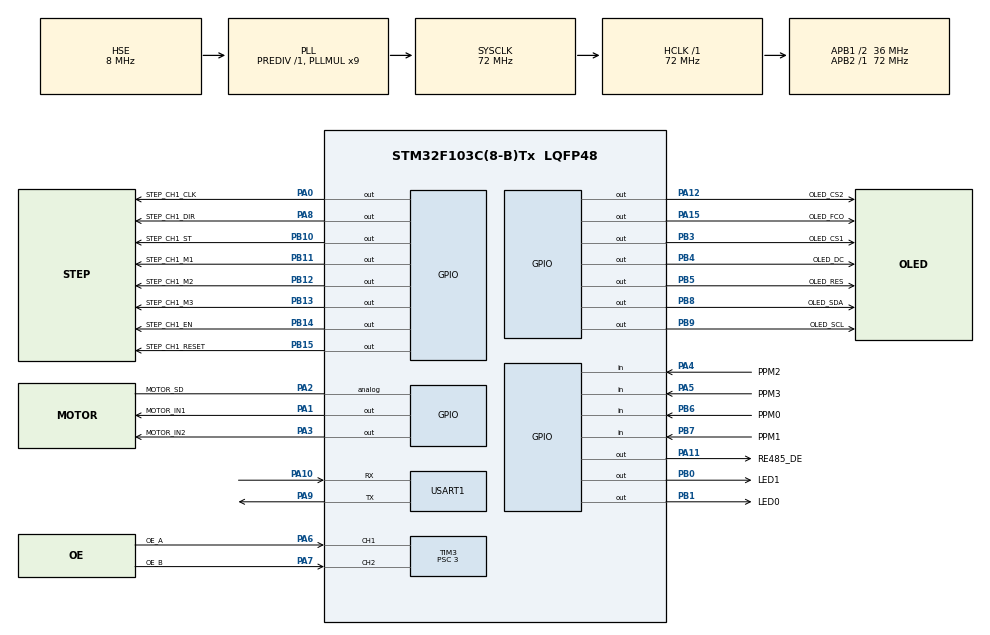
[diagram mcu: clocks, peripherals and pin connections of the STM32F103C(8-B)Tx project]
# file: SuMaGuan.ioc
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Dma.Request0=TIM3_CH4/UP
Dma.Request1=USART1_RX
Dma.Request2=USART1_TX
Dma.TIM3_CH4/UP.0.Direction=DMA_PERIPH_TO_MEMORY
Dma.TIM3_CH4/UP.0.Instance=DMA1_Channel3
Dma.TIM3_CH4/UP.0.MemDataAlignment=DMA_MDATAALIGN_HALFWORD
Dma.TIM3_CH4/UP.0.MemInc=DMA_MINC_ENABLE
Dma.TIM3_CH4/UP.0.Mode=DMA_NORMAL
Dma.TIM3_CH4/UP.0.PeriphDataAlignment=DMA_PDATAALIGN_HALFWORD
Dma.TIM3_CH4/UP.0.PeriphInc=DMA_PINC_DISABLE
Dma.TIM3_CH4/UP.0.Priority=DMA_PRIORITY_LOW
Dma.USART1_RX.1.Direction=DMA_PERIPH_TO_MEMORY
Dma.USART1_RX.1.Instance=DMA1_Channel5
Dma.USART1_RX.1.MemDataAlignment=DMA_MDATAALIGN_BYTE
Dma.USART1_RX.1.MemInc=DMA_MINC_ENABLE
Dma.USART1_RX.1.Mode=DMA_CIRCULAR
Dma.USART1_RX.1.PeriphDataAlignment=DMA_PDATAALIGN_BYTE
Dma.USART1_RX.1.PeriphInc=DMA_PINC_DISABLE
Dma.USART1_RX.1.Priority=DMA_PRIORITY_LOW
Dma.USART1_TX.2.Direction=DMA_MEMORY_TO_PERIPH
Dma.USART1_TX.2.Instance=DMA1_Channel4
Dma.USART1_TX.2.MemDataAlignment=DMA_MDATAALIGN_BYTE
Dma.USART1_TX.2.MemInc=DMA_MINC_ENABLE
Dma.USART1_TX.2.Mode=DMA_NORMAL
Dma.USART1_TX.2.PeriphDataAlignment=DMA_PDATAALIGN_BYTE
Dma.USART1_TX.2.PeriphInc=DMA_PINC_DISABLE
Dma.USART1_TX.2.Priority=DMA_PRIORITY_LOW
Mcu.Family=STM32F1
Mcu.Name=STM32F103C(8-B)Tx
Mcu.Package=LQFP48
NVIC.DMA1_Channel3_IRQn=true\:0\:0\:false\:false\:true\:false\:true
NVIC.DMA1_Channel4_IRQn=true\:0\:0\:false\:false\:true\:false\:true
NVIC.DMA1_Channel5_IRQn=true\:0\:0\:false\:false\:true\:false\:true
NVIC.PriorityGroup=NVIC_PRIORITYGROUP_4
NVIC.TIM1_UP_IRQn=true\:0\:0\:false\:false\:true\:true\:true
NVIC.TIM2_IRQn=true\:0\:0\:false\:false\:true\:true\:true
NVIC.TIM3_IRQn=true\:0\:0\:false\:false\:true\:true\:true
NVIC.TIM4_IRQn=true\:0\:0\:false\:false\:true\:true\:true
NVIC.USART1_IRQn=true\:0\:0\:false\:false\:true\:true\:true
PA0-WKUP.GPIO_Label=STEP_CH1_CLK
PA0-WKUP.Signal=GPIO_Output
PA1.GPIO_Label=MOTOR_IN1
PA1.Signal=GPIO_Output
PA10.Mode=Asynchronous
PA10.Signal=USART1_RX
PA11.GPIO_Label=RE485_DE
PA11.Signal=GPIO_Output
PA12.GPIO_Label=OLED_CS2
PA12.Signal=GPIO_Output
PA13.Mode=Serial_Wire
PA13.Signal=SYS_JTMS-SWDIO
PA14.Mode=Serial_Wire
PA14.Signal=SYS_JTCK-SWCLK
PA15.GPIO_Label=OLED_FCO
PA15.Signal=GPIO_Output
PA2.GPIO_Label=MOTOR_SD
PA2.Signal=GPIO_Analog
PA3.GPIO_Label=MOTOR_IN2
PA3.Signal=GPIO_Output
PA4.GPIO_Label=PPM2
PA4.GPIO_PuPd=GPIO_PULLDOWN
PA4.Signal=GPIO_Input
PA5.GPIO_Label=PPM3
PA5.GPIO_PuPd=GPIO_PULLDOWN
PA5.Signal=GPIO_Input
PA6.GPIO_Label=OE_A
PA6.GPIO_PuPd=GPIO_PULLUP
PA6.Signal=S_TIM3_CH1
PA7.GPIO_Label=OE_B
PA7.GPIO_PuPd=GPIO_PULLUP
PA7.Signal=S_TIM3_CH2
PA8.GPIO_Label=STEP_CH1_DIR
PA8.Signal=GPIO_Output
PA9.Mode=Asynchronous
PA9.Signal=USART1_TX
PB0.GPIO_Label=LED1
PB0.Signal=GPIO_Output
PB1.GPIO_Label=LED0
PB1.Signal=GPIO_Output
PB10.GPIO_Label=STEP_CH1_ST
PB10.Signal=GPIO_Output
PB11.GPIO_Label=STEP_CH1_M1
PB11.Signal=GPIO_Output
PB12.GPIO_Label=STEP_CH1_M2
PB12.Signal=GPIO_Output
PB13.GPIO_Label=STEP_CH1_M3
PB13.Signal=GPIO_Output
PB14.GPIO_Label=STEP_CH1_EN
PB14.Signal=GPIO_Output
PB15.GPIO_Label=STEP_CH1_RESET
PB15.Signal=GPIO_Output
PB3.GPIO_Label=OLED_CS1
PB3.Signal=GPIO_Output
PB4.GPIO_Label=OLED_DC
PB4.Signal=GPIO_Output
PB5.GPIO_Label=OLED_RES
PB5.Signal=GPIO_Output
PB6.GPIO_Label=PPM0
PB6.GPIO_PuPd=GPIO_PULLDOWN
PB6.Signal=GPIO_Input
PB7.GPIO_Label=PPM1
PB7.GPIO_PuPd=GPIO_PULLDOWN
PB7.Signal=GPIO_Input
PB8.GPIO_Label=OLED_SDA
PB8.Signal=GPIO_Output
PB9.GPIO_Label=OLED_SCL
PB9.Signal=GPIO_Output
PD0-OSC_IN.Mode=HSE-External-Oscillator
PD0-OSC_IN.Signal=RCC_OSC_IN
PD1-OSC_OUT.Mode=HSE-External-Oscillator
PD1-OSC_OUT.Signal=RCC_OSC_OUT
ProjectManager.HeapSize=0x200
ProjectManager.StackSize=0x400
ProjectManager.TargetToolchain=MDK-ARM V5
RCC.AHBFreq_Value=72000000
RCC.APB1CLKDivider=RCC_HCLK_DIV2
RCC.APB1Freq_Value=36000000
RCC.APB1TimFreq_Value=72000000
RCC.APB2Freq_Value=72000000
RCC.APB2TimFreq_Value=72000000
RCC.HCLKFreq_Value=72000000
RCC.PLLMUL=RCC_PLL_MUL9
RCC.PLLSourceVirtual=RCC_PLLSOURCE_HSE
RCC.SYSCLKFreq_VALUE=72000000
RCC.SYSCLKSource=RCC_SYSCLKSOURCE_PLLCLK
RCC.USBFreq_Value=72000000
SH.S_TIM3_CH1.0=TIM3_CH1,Encoder_Interface
SH.S_TIM3_CH2.0=TIM3_CH2,Encoder_Interface
TIM1.Period=999
TIM1.Prescaler=71
TIM2.Period=10
TIM2.Prescaler=71
TIM3.EncoderMode=TIM_ENCODERMODE_TI12
TIM3.IC1Filter=15
TIM3.IC2Filter=15
TIM3.Period=0xFFFF
TIM3.Prescaler=3
TIM4.Period=999
TIM4.Prescaler=71
USART1.VirtualMode=VM_ASYNC
VP_TIM1_VS_ClockSourceINT.Mode=Internal
VP_TIM2_VS_ClockSourceINT.Mode=Internal
VP_TIM4_VS_ClockSourceINT.Mode=Internal
board=custom

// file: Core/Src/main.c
/* USER CODE BEGIN Header */
/**
  ******************************************************************************
  * @file           : main.c
  * @brief          : Main program body
  ******************************************************************************
  * @attention
  *
  * <h2><center>&copy; Copyright (c) 2019 STMicroelectronics.
  * All rights reserved.</center></h2>
  *
  * This software component is licensed by ST under BSD 3-Clause license,
  * the "License"; You may not use this file except in compliance with the
  * License. You may obtain a copy of the License at:
  *                        opensource.org/licenses/BSD-3-Clause
  *
  ******************************************************************************
  */
/* USER CODE END Header */

#include "main.h"
#include "dma.h"
#include "tim.h"
#include "usart.h"
#include "gpio.h"

/* USER CODE BEGIN Includes */

#include "../../cylib/cylib.h"
#include "../../cylib/buffer/cylib_ringbuffer.h"
#include <string.h>

/* USER CODE END Includes */

void SystemClock_Config(void);

/* USER CODE BEGIN 0 */

uint8_t uart1_rx_data = 0;
bool flag_1hz = false;
char upload_buffer[256];
ring_buffer_t uart1_rx_rb;

uint32_t timeout_counter = 0;

void delay(uint32_t t)
{
	uint8_t i = 7;

	while(t--){
		i=7;
		while(i--);
	}
}

bool forward_flag = true;

 void ppm1_callback()
{
	if (!forward_flag){
		return;
	}

	forward_flag = false;

	//正转

	#if USE_4G == 1

	 sprintf(upload_buffer,"\r\npub/085e2d2c-77ed-416e-b852-5f83b0392fd6/VER=1.0&TYPE=sumaguan&PAYLOAD=s/%s$\r\n","oning");

		HAL_GPIO_WritePin(RE485_DE_GPIO_Port,RE485_DE_Pin,GPIO_PIN_SET);
			HAL_UART_Transmit_IT(&huart1,
			(uint8_t *)upload_buffer,
		  strlen(upload_buffer));

	#endif

	TIM3->CNT =0 ;

	cylib_step_motor_io_write(cylib_step_motor.instance[0].pin.dir,GPIO_PIN_RESET);
	while(TIM3->CNT < 7000/360.0f*100){
		cylib_step_motor_io_write(cylib_step_motor.instance[0].pin.clk,GPIO_PIN_RESET);
		delay(10);
		cylib_step_motor_io_write(cylib_step_motor.instance[0].pin.clk,GPIO_PIN_SET);
		delay(10);
	}

	//HAL_Delay(10);

	#if USE_4G == 1
	while(huart1.gState != HAL_UART_STATE_READY);

	 sprintf(upload_buffer,"\r\npub/085e2d2c-77ed-416e-b852-5f83b0392fd6/VER=1.0&TYPE=sumaguan&PAYLOAD=s/%s$\r\n","on");

		HAL_GPIO_WritePin(RE485_DE_GPIO_Port,RE485_DE_Pin,GPIO_PIN_SET);
			HAL_UART_Transmit_IT(&huart1,
			(uint8_t *)upload_buffer,
		  strlen(upload_buffer));

	TIM4->CNT = 0;
	flag_1hz = false;

	#endif

}

 void ppm2_callback()
 {
	if (forward_flag){
		return;
	}

	forward_flag = true;

		//反转

	#if USE_4G == 1

	 sprintf(upload_buffer,"\r\npub/085e2d2c-77ed-416e-b852-5f83b0392fd6/VER=1.0&TYPE=sumaguan&PAYLOAD=s/%s$\r\n","offing");

		HAL_GPIO_WritePin(RE485_DE_GPIO_Port,RE485_DE_Pin,GPIO_PIN_SET);
			HAL_UART_Transmit_IT(&huart1,
			(uint8_t *)upload_buffer,
		  strlen(upload_buffer));

	#endif

	TIM3->CNT =0 ;

	cylib_step_motor_io_write(cylib_step_motor.instance[0].pin.dir,GPIO_PIN_SET);
	while((int16_t)TIM3->CNT > -(7000/360.0f*100)){
		cylib_step_motor_io_write(cylib_step_motor.instance[0].pin.clk,GPIO_PIN_RESET);
		delay(10);
		cylib_step_motor_io_write(cylib_step_motor.instance[0].pin.clk,GPIO_PIN_SET);
		delay(10);
	}

	//HAL_Delay(10);

	#if USE_4G == 1

	while(huart1.gState != HAL_UART_STATE_READY);
	sprintf(upload_buffer,"\r\npub/085e2d2c-77ed-416e-b852-5f83b0392fd6/VER=1.0&TYPE=sumaguan&PAYLOAD=s/%s$\r\n","off");

		HAL_GPIO_WritePin(RE485_DE_GPIO_Port,RE485_DE_Pin,GPIO_PIN_SET);
			HAL_UART_Transmit_IT(&huart1,
			(uint8_t *)upload_buffer,
		  strlen(upload_buffer));

	TIM4->CNT = 0;
	flag_1hz = false;

	#endif

 }

/* USER CODE END 0 */

int main(void)
{

  /* MCU Configuration--------------------------------------------------------*/

  /* Reset of all peripherals, Initializes the Flash interface and the Systick. */
  HAL_Init();

  /* Configure the system clock */
  SystemClock_Config();

  /* Initialize all configured peripherals */
  MX_GPIO_Init();
  MX_DMA_Init();
  MX_TIM3_Init();
  MX_TIM1_Init();
  MX_TIM4_Init();
  MX_TIM2_Init();
  MX_USART1_UART_Init();
  /* USER CODE BEGIN 2 */

  HAL_Delay(30*1000);

	HAL_TIM_Encoder_Start(&htim3, TIM_CHANNEL_ALL);

	HAL_TIM_Base_Start_IT(&htim2);
	HAL_TIM_Base_Start_IT(&htim4);

	HAL_UART_Receive_DMA(&huart1,&uart1_rx_data,1);
	HAL_GPIO_WritePin(RE485_DE_GPIO_Port,RE485_DE_Pin,GPIO_PIN_RESET);

#if USE_4G == 1

		HAL_GPIO_WritePin(RE485_DE_GPIO_Port,RE485_DE_Pin,GPIO_PIN_SET);
	sprintf(upload_buffer,"\r\nsub/085e2d2c-77ed-416e-b852-5f83b0392fd6-device\r\n");
			HAL_UART_Transmit_IT(&huart1,
			(uint8_t *)upload_buffer,
		  strlen(upload_buffer));

#endif

	//while(1);

	HAL_Delay(1000);

	cylib_init();

	//0.129dg

  /* USER CODE END 2 */

  /* Infinite loop */
  while (1)
  {

    /* USER CODE BEGIN 3 */

	  #if USE_4G == 0
	  ppm_polling();

	  #else

	  if (flag_1hz == true){
		flag_1hz = false;

		  if (forward_flag== true){
			sprintf(upload_buffer,"\r\npub/085e2d2c-77ed-416e-b852-5f83b0392fd6/VER=1.0&TYPE=sumaguan&PAYLOAD=s/%s$\r\n","off");
		  }else{
			sprintf(upload_buffer,"\r\npub/085e2d2c-77ed-416e-b852-5f83b0392fd6/VER=1.0&TYPE=sumaguan&PAYLOAD=s/%s$\r\n","on");
		  }

		HAL_GPIO_WritePin(RE485_DE_GPIO_Port,RE485_DE_Pin,GPIO_PIN_SET);
			HAL_UART_Transmit_IT(&huart1,
			(uint8_t *)upload_buffer,
		  strlen(upload_buffer));

	  }

	  //解析串口数据
	  {
		static char buffer[128];
		 static uint8_t pos = 0;

		  pos += ring_buffer_dequeue(&uart1_rx_rb,&buffer[pos]);

		  if (pos >= 1){
			if (buffer[pos-1] == '\n'){

				buffer[pos] = 0;

				if (strcmp(buffer,"VER=1.0&TYPE=sumaguan&PAYLOAD=c/on$\r\n") ==0){
					ppm1_callback();
				}else if (strcmp(buffer,"VER=1.0&TYPE=sumaguan&PAYLOAD=c/off$\r\n") ==0){
					ppm2_callback();
				}

				pos = 0;

			}
		  }

		  if (pos >= 128){
			pos = 0;
		  }

	  }

	  if (timeout_counter >= 5){
		timeout_counter = 0;

		  HAL_GPIO_WritePin(RE485_DE_GPIO_Port,RE485_DE_Pin,GPIO_PIN_SET);
			sprintf(upload_buffer,"\r\nsub/085e2d2c-77ed-416e-b852-5f83b0392fd6-device\r\n");
			HAL_UART_Transmit_IT(&huart1,
			(uint8_t *)upload_buffer,
		  strlen(upload_buffer));
	  }

	  #endif

  }
  /* USER CODE END 3 */
}

void SystemClock_Config(void)
{
  RCC_OscInitTypeDef RCC_OscInitStruct = {0};
  RCC_ClkInitTypeDef RCC_ClkInitStruct = {0};

  /** Initializes the CPU, AHB and APB busses clocks
  */
  RCC_OscInitStruct.OscillatorType = RCC_OSCILLATORTYPE_HSE;
  RCC_OscInitStruct.HSEState = RCC_HSE_ON;
  RCC_OscInitStruct.HSEPredivValue = RCC_HSE_PREDIV_DIV1;
  RCC_OscInitStruct.HSIState = RCC_HSI_ON;
  RCC_OscInitStruct.PLL.PLLState = RCC_PLL_ON;
  RCC_OscInitStruct.PLL.PLLSource = RCC_PLLSOURCE_HSE;
  RCC_OscInitStruct.PLL.PLLMUL = RCC_PLL_MUL9;
  if (HAL_RCC_OscConfig(&RCC_OscInitStruct) != HAL_OK)
  {
    Error_Handler();
  }
  /** Initializes the CPU, AHB and APB busses clocks
  */
  RCC_ClkInitStruct.ClockType = RCC_CLOCKTYPE_HCLK|RCC_CLOCKTYPE_SYSCLK
                              |RCC_CLOCKTYPE_PCLK1|RCC_CLOCKTYPE_PCLK2;
  RCC_ClkInitStruct.SYSCLKSource = RCC_SYSCLKSOURCE_PLLCLK;
  RCC_ClkInitStruct.AHBCLKDivider = RCC_SYSCLK_DIV1;
  RCC_ClkInitStruct.APB1CLKDivider = RCC_HCLK_DIV2;
  RCC_ClkInitStruct.APB2CLKDivider = RCC_HCLK_DIV1;

  if (HAL_RCC_ClockConfig(&RCC_ClkInitStruct, FLASH_LATENCY_2) != HAL_OK)
  {
    Error_Handler();
  }
}

/* USER CODE BEGIN 4 */

void HAL_TIM_PeriodElapsedCallback(TIM_HandleTypeDef *htim)
{

	if(htim->Instance == TIM2){
		ppm_interrupt();
	}else if(htim->Instance == TIM4){
		static uint32_t counter = 0;

		counter++;
		counter%=1000;

		if (counter == 0){
			timeout_counter++;
			flag_1hz = true;
		}

	}

}

void HAL_UART_TxCpltCallback(UART_HandleTypeDef *huart){
	if (huart->Instance == USART1){
		HAL_GPIO_WritePin(RE485_DE_GPIO_Port,RE485_DE_Pin,GPIO_PIN_RESET);
	}
}

void HAL_UART_RxCpltCallback(UART_HandleTypeDef *huart)
{

	if (huart->Instance == USART1){
		ring_buffer_queue(&uart1_rx_rb,uart1_rx_data);
	}
}
/* USER CODE END 4 */

void Error_Handler(void)
{
}

/************************ (C) COPYRIGHT STMicroelectronics *****END OF FILE****/
